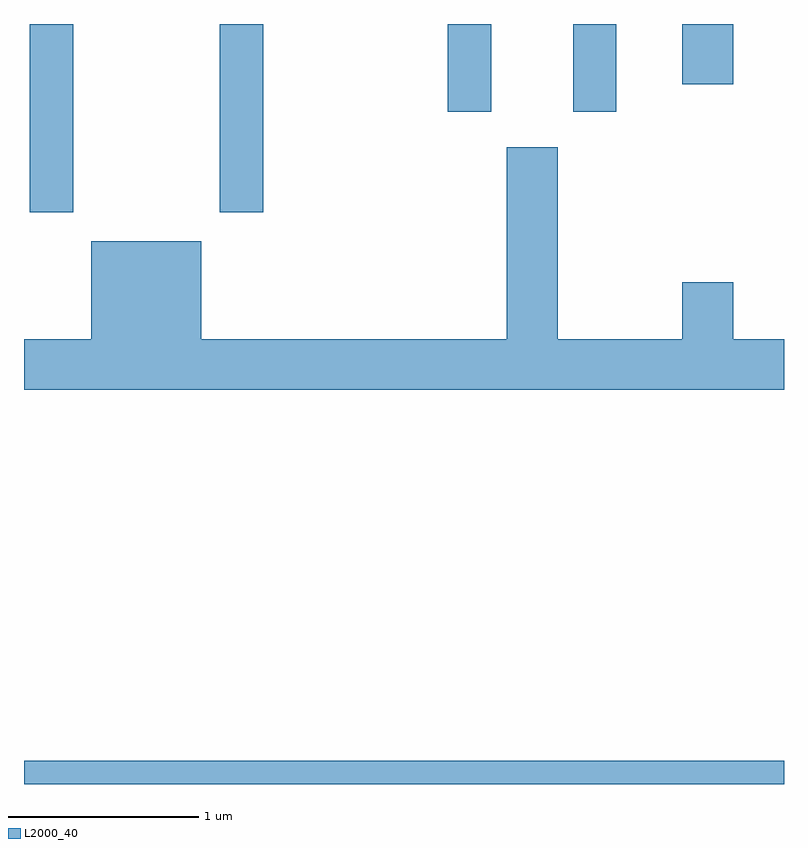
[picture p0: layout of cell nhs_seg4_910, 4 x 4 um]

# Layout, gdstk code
import gdstk
lib = gdstk.Library(unit=1e-6, precision=1e-09)
def R(c, l, rs):  # rectangles x0, y0, x1, y1
    for r in rs: c.add(gdstk.rectangle(r[:2], r[2:], *l))
def P(c, l, *ps):  # polygons
    for p in ps: c.add(gdstk.Polygon(p, *l))
L2000_40 = (2000, 40)

nhs_seg4_910 = lib.new_cell('nhs_seg4_910')
R(nhs_seg4_910, L2000_40, [(211.611,1305.982,215.611,1306.104), (211.641,1308.991,211.869,1309.982), (212.641,1308.991,212.869,1309.982), (213.841,1309.521,214.069,1309.982), (214.501,1309.521,214.729,1309.982), (215.076,1309.666,215.344,1309.982)])
P(nhs_seg4_910, L2000_40, [(215.611,1308.324),(215.344,1308.324),(215.344,1308.624),(215.076,1308.624),(215.076,1308.324),(214.419,1308.324),(214.419,1309.334),(214.151,1309.334),(214.151,1308.324),(212.544,1308.324),(212.544,1308.839),(211.966,1308.839),(211.966,1308.324),(211.611,1308.324),(211.611,1308.056),(215.611,1308.056)])

lib.write_gds('nhs_seg4_910.gds')
